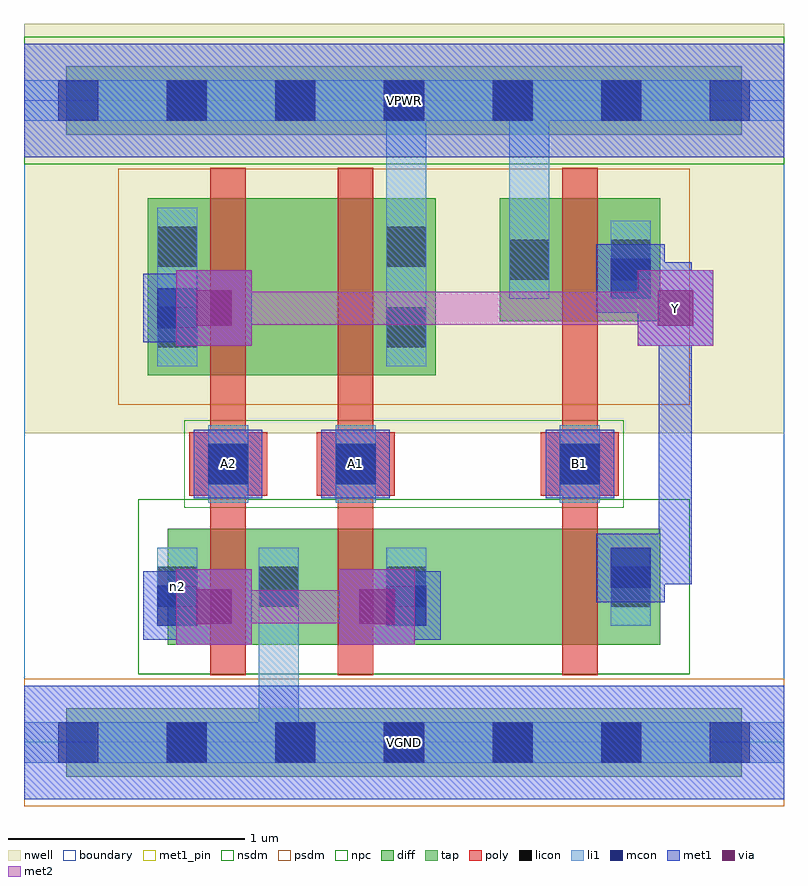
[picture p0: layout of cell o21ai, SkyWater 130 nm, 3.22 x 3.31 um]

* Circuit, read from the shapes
.subckt o21ai A1 A2 B1 VGND VPWR Y n2
XM1 VGND A2 n2 VGND sky130_fd_pr__nfet_01v8 w=0.49 l=0.15
XM2 n2 A1 VGND VGND sky130_fd_pr__nfet_01v8 w=0.49 l=0.15
XM3 Y B1 n2 VGND sky130_fd_pr__nfet_01v8 w=0.49 l=0.15
XM4 n1 A2 Y VPWR sky130_fd_pr__pfet_01v8 w=0.75 l=0.15
XM5 VPWR A1 n1 VPWR sky130_fd_pr__pfet_01v8 w=0.75 l=0.15
XM6 Y B1 VPWR VPWR sky130_fd_pr__pfet_01v8 w=0.52 l=0.15
.ends

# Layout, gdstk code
import gdstk
lib = gdstk.Library(unit=1e-6, precision=1e-09)
def R(c, l, rs):  # rectangles x0, y0, x1, y1
    for r in rs: c.add(gdstk.rectangle(r[:2], r[2:], *l))
def A(c, l, x, y, w, h, nx, ny, dx, dy):  # array of equal rectangles
    R(c, l, [(x+i*dx, y+j*dy, x+i*dx+w, y+j*dy+h) for i in range(nx) for j in range(ny)])
nwell = (64, 20)
diff = (65, 20)
tap = (65, 44)
poly = (66, 20)
licon = (66, 44)
li1 = (67, 20)
mcon = (67, 44)
met1_pin = (68, 16)
met1 = (68, 20)
via = (68, 44)
met2 = (69, 20)
nsdm = (93, 44)
psdm = (94, 20)
npc = (95, 20)
boundary = (235, 4)

o21ai = lib.new_cell('o21ai')
R(o21ai, nwell, [(0,1.31,3.22,3.045)])
R(o21ai, diff, [(0.61,0.415,2.695,0.905), (0.525,1.555,1.745,2.305), (2.015,1.785,2.695,2.305)])
R(o21ai, tap, [(0.18,-0.145,3.04,0.145), (0.18,2.575,3.04,2.865)])
R(o21ai, poly, [(0.79,0.285,0.94,2.435), (1.33,0.285,1.48,2.435), (2.28,0.285,2.43,2.435), (0.7,1.045,1.03,1.315), (1.24,1.045,1.57,1.315), (2.19,1.045,2.52,1.315)])
A(o21ai, licon, 0.605, -0.085, 0.17, 0.17, 5, 2, 0.46, 2.72)
R(o21ai, licon, [(0.565,0.575,0.735,0.745), (0.995,0.575,1.165,0.745), (1.535,0.575,1.705,0.745), (2.485,0.575,2.655,0.745), (0.78,1.095,0.95,1.265), (1.32,1.095,1.49,1.265), (2.27,1.095,2.44,1.265), (0.565,1.675,0.735,1.845), (1.535,1.675,1.705,1.845), (2.055,1.96,2.225,2.13), (2.485,1.96,2.655,2.13), (0.565,2.015,0.735,2.185), (1.535,2.015,1.705,2.185)])
R(o21ai, li1, [(0,-0.085,3.22,0.085), (0.995,-0.085,1.165,0.825), (0.565,0.495,0.735,0.825), (0.995,0.495,1.165,0.825), (1.535,0.495,1.705,0.825), (2.485,0.495,2.655,0.825), (0.78,1.015,0.95,1.345), (1.32,1.015,1.49,1.345), (2.27,1.015,2.44,1.345), (0.565,1.595,0.735,2.265), (1.535,1.595,1.705,2.265), (1.535,1.595,1.705,2.805), (2.055,1.88,2.225,2.21), (2.055,1.88,2.225,2.805), (2.485,1.88,2.655,2.21), (0,2.635,3.22,2.805)])
A(o21ai, mcon, 0.145, -0.085, 0.17, 0.17, 7, 2, 0.46, 2.72)
R(o21ai, mcon, [(0.565,0.495,0.735,0.665), (1.535,0.495,1.705,0.665), (2.485,0.655,2.655,0.825), (0.78,1.095,0.95,1.265), (1.32,1.095,1.49,1.265), (2.27,1.095,2.44,1.265), (0.565,1.755,0.735,1.925), (2.485,1.88,2.655,2.05)])
R(o21ai, met1_pin, [(0,-0.24,3.22,0.24), (0.72,1.035,1.01,1.325), (1.26,1.035,1.55,1.325), (2.21,1.035,2.5,1.325), (2.6,1.68,2.92,2), (0,2.48,3.22,2.96)])
R(o21ai, met1, [(0,-0.24,3.22,0.24), (0.645,0.415,0.965,0.735), (1.335,0.415,1.655,0.735), (0.505,0.435,0.795,0.725), (1.475,0.435,1.765,0.725), (0.735,0.505,0.875,0.65), (1.425,0.505,1.565,0.65), (0.58,0.51,0.875,0.65), (1.425,0.51,1.69,0.65), (2.425,0.595,2.715,0.885), (2.5,0.67,2.83,0.81), (2.69,0.67,2.83,0.99), (2.69,0.85,2.83,1.91), (0.72,1.035,1.01,1.325), (1.26,1.035,1.55,1.325), (2.21,1.035,2.5,1.325), (0.645,1.68,0.965,2), (2.6,1.68,2.92,2), (0.505,1.695,0.795,1.985), (0.58,1.77,0.875,1.91), (2.69,1.77,2.83,2.035), (2.425,1.82,2.715,2.11), (2.5,1.895,2.83,2.035), (0,2.48,3.22,2.96)])
R(o21ai, via, [(0.73,0.5,0.88,0.65), (1.42,0.5,1.57,0.65), (0.73,1.765,0.88,1.915), (2.685,1.765,2.835,1.915)])
R(o21ai, met2, [(0.645,0.415,0.965,0.735), (1.335,0.415,1.655,0.735), (0.735,0.505,1.565,0.645), (0.645,1.68,0.965,2), (2.6,1.68,2.92,2), (0.735,1.77,2.83,1.91)])
R(o21ai, nsdm, [(0.485,0.29,2.82,1.03), (0,2.45,3.22,2.99)])
R(o21ai, psdm, [(0,-0.27,3.22,0.27), (0.4,1.43,2.82,2.43)])
R(o21ai, npc, [(0.68,0.995,2.54,1.365)])
R(o21ai, boundary, [(0,0,3.22,2.72)])
o21ai.add(gdstk.Label('n2', (0.65,0.66), layer=67, texttype=5))
o21ai.add(gdstk.Label('A1', (1.405,1.18), layer=68, texttype=5))
o21ai.add(gdstk.Label('A2', (0.865,1.18), layer=68, texttype=5))
o21ai.add(gdstk.Label('B1', (2.355,1.18), layer=68, texttype=5))
o21ai.add(gdstk.Label('Y', (2.76,1.84), layer=68, texttype=5))
o21ai.add(gdstk.Label('VPWR', (1.61,2.72), layer=68, texttype=5))
o21ai.add(gdstk.Label('VGND', (1.61,0), layer=68, texttype=5))
o21ai.add(gdstk.Label('A1', (1.405,1.18), layer=68, texttype=16))
o21ai.add(gdstk.Label('A2', (0.865,1.18), layer=68, texttype=16))
o21ai.add(gdstk.Label('B1', (2.355,1.18), layer=68, texttype=16))
o21ai.add(gdstk.Label('Y', (2.76,1.84), layer=68, texttype=16))
o21ai.add(gdstk.Label('VPWR', (1.61,2.72), layer=68, texttype=16))
o21ai.add(gdstk.Label('VGND', (1.61,0), layer=68, texttype=16))

lib.write_gds('o21ai.gds')
